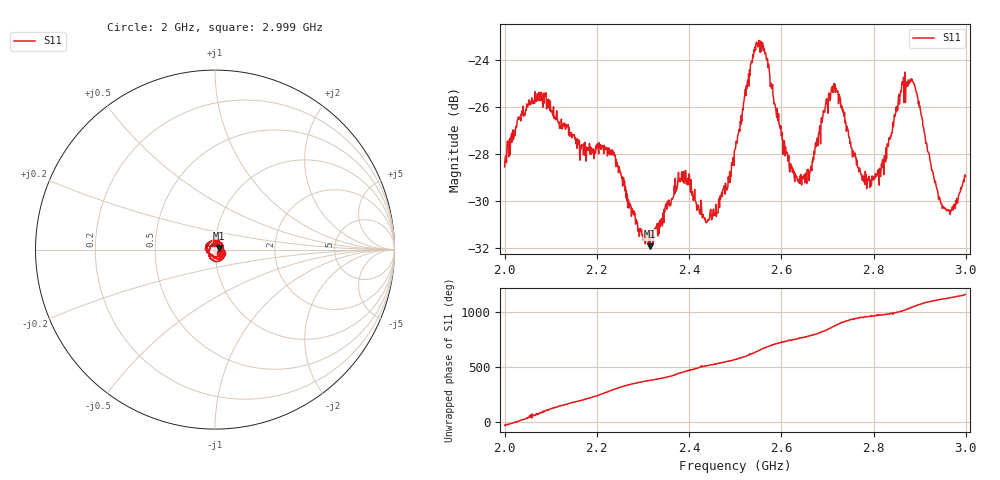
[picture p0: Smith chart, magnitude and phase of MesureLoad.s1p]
# MHz S MA R 50.0
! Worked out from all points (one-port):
!   1000 points, 2 GHz to 2.999 GHz, reference 50 ohm
!   lowest |S11| = -31.9 dB at 2.315 GHz (marker M1), VSWR 1.05, Z = 52.4 + j0.879 ohm
!   |S11| at or under -10 dB: start of sweep to end of sweep
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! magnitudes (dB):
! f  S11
! 2 GHz  -28.6
! 2.056 GHz  -25.8
! 2.091 GHz  -26.1
! 2.125 GHz  -27.0
! 2.168 GHz  -27.6
! 2.234 GHz  -27.8
! 2.25 GHz  -28.7
! 2.289 GHz  -31.3
! 2.315 GHz  -31.9
! 2.375 GHz  -29.4
! 2.397 GHz  -29.3
! 2.439 GHz  -30.9
! 2.485 GHz  -29.0
! 2.5 GHz  -27.8
! 2.538 GHz  -23.8
! 2.556 GHz  -23.2
! 2.625 GHz  -28.6
! 2.663 GHz  -28.7
! 2.713 GHz  -25.2
! 2.75 GHz  -27.5
! 2.776 GHz  -29.1
! 2.81 GHz  -28.7
! 2.86 GHz  -25.4
! 2.875 GHz  -24.9
! 2.891 GHz  -25.3
! 2.95 GHz  -30.3
! 2.972 GHz  -30.4
! 2.999 GHz  -29.0
